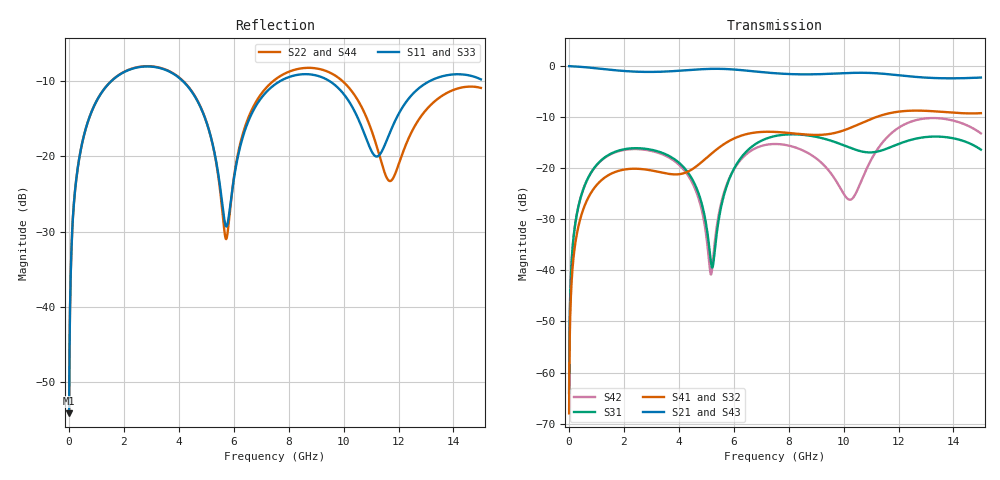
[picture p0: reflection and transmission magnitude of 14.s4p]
! Created with skrf 1.8.0 (http://scikit-rf.org).
# GHz S RI R 50.0
!freq ReS11 ImS11 ReS12 ImS12 ReS13 ImS13
! ReS14 ImS14
! ReS21 ImS21 ReS22 ImS22 ReS23 ImS23
! ReS24 ImS24
! ReS31 ImS31 ReS32 ImS32 ReS33 ImS33
! ReS34 ImS34
! ReS41 ImS41 ReS42 ImS42 ReS43 ImS43
! ReS44 ImS44
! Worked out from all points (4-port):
!   2499 points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, 5 MHz to 15 GHz, reference 50 ohm
!   strongest paths, dB at 5 MHz, 3.476 GHz, 7.19 GHz, 11.1 GHz, 15 GHz:
!     S21: 0.0, -1.1, -1.3, -1.4, -2.2
!     S43: 0.0, -1.1, -1.3, -1.4, -2.2
!     S41: -68.0, -21.0, -12.9, -10.2, -9.2
!     S32: -68.0, -20.9, -12.9, -10.2, -9.2
!     S31: -64.0, -17.2, -14.2, -16.9, -16.4
!     S42: -64.0, -17.4, -15.4, -17.4, -13.2
!   lowest |S11| = -54.1 dB at 5 MHz (marker M1), VSWR 1.00, Z = 50.2 + j0.12 ohm
!   |S11| at or under -10 dB: start of sweep to 1.559 GHz; 4.13 GHz to 7.717 GHz (3.587 GHz wide, 60.6 % of centre); 9.463 GHz to 13.17 GHz (3.702 GHz wide, 32.7 % of centre)
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0.005  0.00157 0.00119  0.9984 -0.00306  7.88e-05 0.000626  -7.65e-05 -0.000392
       0.9984 -0.00306  0.00157 0.00119  -7.65e-05 -0.000392  7.87e-05 0.000626
       7.88e-05 0.000626  -7.65e-05 -0.000392  0.00157 0.00119  0.9984 -0.00306
       -7.65e-05 -0.000392  7.87e-05 0.000626  0.9984 -0.00306  0.00157 0.00119
0.3126303  0.0223 0.0788  0.9695 -0.1905  0.0104 0.0373  -0.00851 -0.0232
           0.9695 -0.1905  0.0224 0.0787  -0.00851 -0.0232  0.01 0.0374
           0.0104 0.0373  -0.00851 -0.0232  0.0223 0.0788  0.9695 -0.1905
           -0.00851 -0.0232  0.01 0.0374  0.9695 -0.1905  0.0224 0.0788
1.519383  0.2499 0.1857  0.5908 -0.7043  0.123 0.0639  -0.087 -0.013
          0.5908 -0.7043  0.2514 0.1848  -0.087 -0.013  0.1182 0.0697
          0.123 0.0639  -0.087 -0.013  0.2498 0.1857  0.5909 -0.7043
          -0.087 -0.013  0.1182 0.0697  0.5909 -0.7043  0.2513 0.1848
5.552313  0.0361 -0.0394  -0.9271 -0.1512  -0.00185 0.0434  -0.0239 0.164
          -0.9271 -0.1512  0.0298 -0.0393  -0.0237 0.164  -0.0101 0.0457
          -0.00185 0.0434  -0.0237 0.164  0.0367 -0.0377  -0.9272 -0.151
          -0.0239 0.164  -0.0101 0.0457  -0.9272 -0.151  0.0286 -0.0378
8.92872  0.3437 -0.0291  0.0318 0.8307  0.1236 -0.1634  0.2017 -0.0654
         0.0318 0.8307  0.3781 -0.0613  0.2016 -0.0656  0.1287 -0.0114
         0.1236 -0.1634  0.2016 -0.0656  0.3441 -0.0291  0.0305 0.8307
         0.2017 -0.0654  0.1287 -0.0114  0.0305 0.8307  0.3785 -0.0601
11.59233  0.1159 0.0587  0.8327 0.0594  -0.0933 0.1253  0.0173 -0.3414
          0.8327 0.0594  0.0643 -0.0294  0.0163 -0.3408  0.1127 0.1676
          -0.0933 0.1253  0.0163 -0.3408  0.1196 0.0578  0.8325 0.0626
          0.0173 -0.3414  0.1127 0.1676  0.8325 0.0626  0.0605 -0.0302
15  0.303 -0.1111  -0.0623 -0.7701  0.1225 -0.0901  -0.334 0.091
    -0.0623 -0.7701  0.2775 -0.0565  -0.3328 0.09  0.1539 -0.1568
    0.1225 -0.0901  -0.3328 0.09  0.2965 -0.1166  -0.0571 -0.7726
    -0.334 0.091  0.1539 -0.1568  -0.0571 -0.7726  0.2721 -0.045
